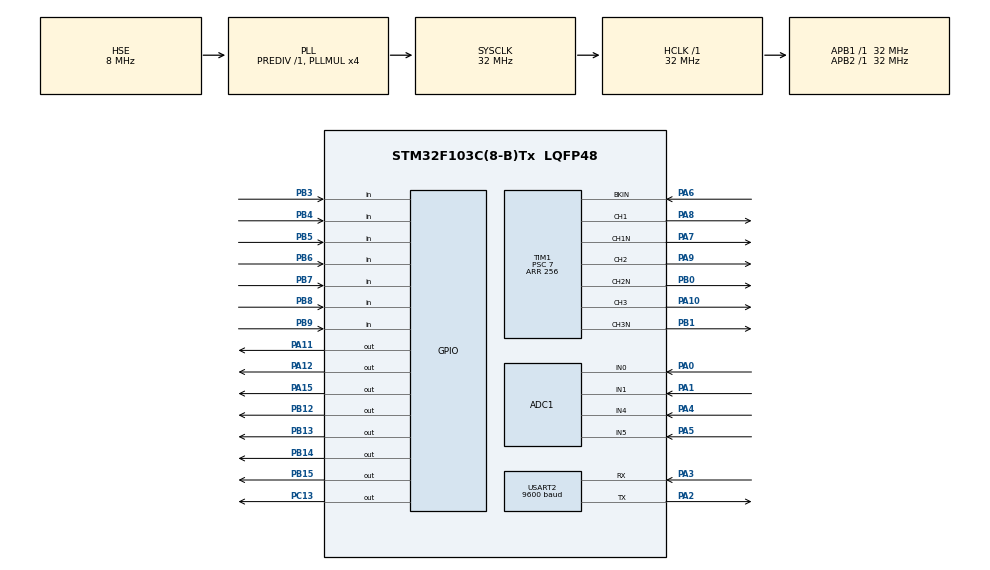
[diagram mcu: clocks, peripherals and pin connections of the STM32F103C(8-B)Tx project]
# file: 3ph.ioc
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ADC1.Channel-4\#ChannelRegularConversion=ADC_CHANNEL_0
ADC1.Channel-5\#ChannelRegularConversion=ADC_CHANNEL_1
ADC1.Channel-6\#ChannelRegularConversion=ADC_CHANNEL_4
ADC1.Channel-7\#ChannelRegularConversion=ADC_CHANNEL_5
ADC1.ContinuousConvMode=ENABLE
ADC1.DataAlign=ADC_DATAALIGN_RIGHT
ADC1.DiscontinuousConvMode=DISABLE
ADC1.EnableAnalogWatchDog=false
ADC1.EnableRegularConversion=ENABLE
ADC1.ExternalTrigConv=ADC_SOFTWARE_START
ADC1.InjNumberOfConversion=0
ADC1.NbrOfConversion=4
ADC1.NbrOfConversionFlag=1
ADC1.Rank-4\#ChannelRegularConversion=1
ADC1.Rank-5\#ChannelRegularConversion=2
ADC1.Rank-6\#ChannelRegularConversion=3
ADC1.Rank-7\#ChannelRegularConversion=4
ADC1.SamplingTime-4\#ChannelRegularConversion=ADC_SAMPLETIME_1CYCLE_5
ADC1.SamplingTime-5\#ChannelRegularConversion=ADC_SAMPLETIME_1CYCLE_5
ADC1.SamplingTime-6\#ChannelRegularConversion=ADC_SAMPLETIME_1CYCLE_5
ADC1.SamplingTime-7\#ChannelRegularConversion=ADC_SAMPLETIME_1CYCLE_5
ADC1.ScanConvMode=ADC_SCAN_ENABLE
ADC1.master=1
Dma.ADC1.0.Direction=DMA_PERIPH_TO_MEMORY
Dma.ADC1.0.Instance=DMA1_Channel1
Dma.ADC1.0.MemDataAlignment=DMA_MDATAALIGN_HALFWORD
Dma.ADC1.0.MemInc=DMA_MINC_ENABLE
Dma.ADC1.0.Mode=DMA_CIRCULAR
Dma.ADC1.0.PeriphDataAlignment=DMA_PDATAALIGN_HALFWORD
Dma.ADC1.0.PeriphInc=DMA_PINC_DISABLE
Dma.ADC1.0.Priority=DMA_PRIORITY_LOW
Dma.Request0=ADC1
Mcu.Family=STM32F1
Mcu.Name=STM32F103C(8-B)Tx
Mcu.Package=LQFP48
NVIC.DMA1_Channel1_IRQn=true\:0\:0\:false\:false\:true
NVIC.PriorityGroup=NVIC_PRIORITYGROUP_4
NVIC.TIM1_BRK_IRQn=true\:0\:0\:false\:false\:true
NVIC.TIM3_IRQn=true\:0\:0\:false\:false\:true
NVIC.TIM4_IRQn=true\:0\:0\:false\:false\:true
PA0-WKUP.Signal=ADCx_IN0
PA1.Signal=ADCx_IN1
PA10.Signal=S_TIM1_CH3
PA11.Signal=GPIO_Output
PA12.Signal=GPIO_Output
PA13.Mode=Serial_Wire
PA13.Signal=SYS_JTMS-SWDIO
PA14.Mode=Serial_Wire
PA14.Signal=SYS_JTCK-SWCLK
PA15.Signal=GPIO_Output
PA2.Mode=Asynchronous
PA2.Signal=USART2_TX
PA3.Mode=Asynchronous
PA3.Signal=USART2_RX
PA4.Signal=ADCx_IN4
PA5.Signal=ADCx_IN5
PA6.Mode=Activate-Break-Input
PA6.Signal=TIM1_BKIN
PA7.Mode=PWM Generation1 CH1 CH1N
PA7.Signal=TIM1_CH1N
PA8.Signal=S_TIM1_CH1
PA9.Signal=S_TIM1_CH2
PB0.Mode=PWM Generation2 CH2 CH2N
PB0.Signal=TIM1_CH2N
PB1.Mode=PWM Generation3 CH3 CH3N
PB1.Signal=TIM1_CH3N
PB12.Signal=GPIO_Output
PB13.Signal=GPIO_Output
PB14.Signal=GPIO_Output
PB15.Signal=GPIO_Output
PB3.Signal=GPIO_Input
PB4.Signal=GPIO_Input
PB5.Signal=GPIO_Input
PB6.Signal=GPIO_Input
PB7.Signal=GPIO_Input
PB8.Signal=GPIO_Input
PB9.Signal=GPIO_Input
PC13-TAMPER-RTC.Signal=GPIO_Output
PD0-OSC_IN.Mode=HSE-External-Oscillator
PD0-OSC_IN.Signal=RCC_OSC_IN
PD1-OSC_OUT.Mode=HSE-External-Oscillator
PD1-OSC_OUT.Signal=RCC_OSC_OUT
ProjectManager.HeapSize=0x200
ProjectManager.StackSize=0x400
ProjectManager.TargetToolchain=MDK-ARM V5
RCC.ADCPresc=RCC_ADCPCLK2_DIV4
RCC.AHBFreq_Value=32000000
RCC.APB1Freq_Value=32000000
RCC.APB1TimFreq_Value=32000000
RCC.APB2Freq_Value=32000000
RCC.APB2TimFreq_Value=32000000
RCC.HCLKFreq_Value=32000000
RCC.PLLMUL=RCC_PLL_MUL4
RCC.PLLSourceVirtual=RCC_PLLSOURCE_HSE
RCC.SYSCLKFreq_VALUE=32000000
RCC.SYSCLKSource=RCC_SYSCLKSOURCE_PLLCLK
RCC.USBFreq_Value=32000000
SH.ADCx_IN0.0=ADC1_IN0,IN0
SH.ADCx_IN0.1=ADC2_IN0
SH.ADCx_IN1.0=ADC1_IN1,IN1
SH.ADCx_IN1.1=ADC2_IN1
SH.ADCx_IN4.0=ADC1_IN4,IN4
SH.ADCx_IN5.0=ADC1_IN5,IN5
SH.S_TIM1_CH1.0=TIM1_CH1,PWM Generation1 CH1 CH1N
SH.S_TIM1_CH2.0=TIM1_CH2,PWM Generation2 CH2 CH2N
SH.S_TIM1_CH3.0=TIM1_CH3,PWM Generation3 CH3 CH3N
TIM1.BreakPolarity=TIM_BREAKPOLARITY_LOW
TIM1.Channel-PWM\ Generation1\ CH1\ CH1N=TIM_CHANNEL_1
TIM1.Channel-PWM\ Generation2\ CH2\ CH2N=TIM_CHANNEL_2
TIM1.Channel-PWM\ Generation3\ CH3\ CH3N=TIM_CHANNEL_3
TIM1.DeadTime=32
TIM1.OCFastMode_PWM-PWM\ Generation1\ CH1\ CH1N=TIM_OCFAST_ENABLE
TIM1.OCFastMode_PWM-PWM\ Generation2\ CH2\ CH2N=TIM_OCFAST_ENABLE
TIM1.OCFastMode_PWM-PWM\ Generation3\ CH3\ CH3N=TIM_OCFAST_ENABLE
TIM1.Period=256
TIM1.Prescaler=7
TIM3.Period=32000
TIM4.ClockDivision=TIM_CLOCKDIVISION_DIV1
TIM4.Period=53333 
TIM4.Prescaler=3
USART2.BaudRate=9600
USART2.VirtualMode=VM_ASYNC
VP_TIM1_VS_ClockSourceINT.Mode=Internal
VP_TIM3_VS_ClockSourceINT.Mode=Internal
VP_TIM4_VS_ClockSourceINT.Mode=Internal
board=3ph

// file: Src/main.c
/**
  ******************************************************************************
  * File Name          : main.c
  * Description        : Main program body
  ******************************************************************************
  ** This notice applies to any and all portions of this file
  * that are not between comment pairs USER CODE BEGIN and
  * USER CODE END. Other portions of this file, whether
  * inserted by the user or by software development tools
  * are owned by their respective copyright owners.
  *
  * COPYRIGHT(c) 2017 STMicroelectronics
  *
  * Redistribution and use in source and binary forms, with or without modification,
  * are permitted provided that the following conditions are met:
  *   1. Redistributions of source code must retain the above copyright notice,
  *      this list of conditions and the following disclaimer.
  *   2. Redistributions in binary form must reproduce the above copyright notice,
  *      this list of conditions and the following disclaimer in the documentation
  *      and/or other materials provided with the distribution.
  *   3. Neither the name of STMicroelectronics nor the names of its contributors
  *      may be used to endorse or promote products derived from this software
  *      without specific prior written permission.
  *
  * THIS SOFTWARE IS PROVIDED BY THE COPYRIGHT HOLDERS AND CONTRIBUTORS "AS IS"
  * AND ANY EXPRESS OR IMPLIED WARRANTIES, INCLUDING, BUT NOT LIMITED TO, THE
  * IMPLIED WARRANTIES OF MERCHANTABILITY AND FITNESS FOR A PARTICULAR PURPOSE ARE
  * DISCLAIMED. IN NO EVENT SHALL THE COPYRIGHT HOLDER OR CONTRIBUTORS BE LIABLE
  * FOR ANY DIRECT, INDIRECT, INCIDENTAL, SPECIAL, EXEMPLARY, OR CONSEQUENTIAL
  * DAMAGES (INCLUDING, BUT NOT LIMITED TO, PROCUREMENT OF SUBSTITUTE GOODS OR
  * SERVICES; LOSS OF USE, DATA, OR PROFITS; OR BUSINESS INTERRUPTION) HOWEVER
  * CAUSED AND ON ANY THEORY OF LIABILITY, WHETHER IN CONTRACT, STRICT LIABILITY,
  * OR TORT (INCLUDING NEGLIGENCE OR OTHERWISE) ARISING IN ANY WAY OUT OF THE USE
  * OF THIS SOFTWARE, EVEN IF ADVISED OF THE POSSIBILITY OF SUCH DAMAGE.
  *
  ******************************************************************************
  */
#include "main.h"
#include "stm32f1xx_hal.h"

ADC_HandleTypeDef hadc1;
DMA_HandleTypeDef hdma_adc1;

TIM_HandleTypeDef htim1;
TIM_HandleTypeDef htim3;
TIM_HandleTypeDef htim4;

UART_HandleTypeDef huart2;

/* USER CODE BEGIN PV */
/* Private variables ---------------------------------------------------------*/

/* USER CODE END PV */

void SystemClock_Config(void);
static void MX_GPIO_Init(void);
static void MX_DMA_Init(void);
static void MX_ADC1_Init(void);
static void MX_USART2_UART_Init(void);
static void MX_TIM1_Init(void);
static void MX_TIM4_Init(void);
static void MX_TIM3_Init(void);

void HAL_TIM_MspPostInit(TIM_HandleTypeDef *htim);

/* USER CODE BEGIN PFP */
/* Private function prototypes -----------------------------------------------*/

/* USER CODE END PFP */

/* USER CODE BEGIN 0 */
short int adc_value[4];
void run_pwm(void)
{
	HAL_TIM_PWM_Start_IT(&htim1,TIM_CHANNEL_1);
	HAL_TIM_PWM_Start_IT(&htim1,TIM_CHANNEL_2);
	HAL_TIM_PWM_Start_IT(&htim1,TIM_CHANNEL_3);

	HAL_TIMEx_PWMN_Start_IT(&htim1,TIM_CHANNEL_1);
	HAL_TIMEx_PWMN_Start_IT(&htim1,TIM_CHANNEL_2);
	HAL_TIMEx_PWMN_Start_IT(&htim1,TIM_CHANNEL_3);
}
void stop_pwm(void)
{
	HAL_TIM_PWM_Stop(&htim1,TIM_CHANNEL_1);
	HAL_TIM_PWM_Stop(&htim1,TIM_CHANNEL_2);
	HAL_TIM_PWM_Stop(&htim1,TIM_CHANNEL_3);

	HAL_TIMEx_PWMN_Stop(&htim1,TIM_CHANNEL_1);
	HAL_TIMEx_PWMN_Stop(&htim1,TIM_CHANNEL_2);
	HAL_TIMEx_PWMN_Stop(&htim1,TIM_CHANNEL_3);
}
/* USER CODE END 0 */

int main(void)
{

  /* MCU Configuration----------------------------------------------------------*/

  /* Reset of all peripherals, Initializes the Flash interface and the Systick. */
  HAL_Init();

  /* Configure the system clock */
  SystemClock_Config();

  /* Initialize all configured peripherals */
  MX_GPIO_Init();
  MX_DMA_Init();
  MX_ADC1_Init();
  MX_USART2_UART_Init();
  MX_TIM1_Init();
  MX_TIM4_Init();
  MX_TIM3_Init();

  /* USER CODE BEGIN 2 */

	HAL_TIM_Base_Start_IT(&htim4);
	HAL_TIM_Base_Start_IT(&htim3);
	HAL_ADC_Start_DMA(&hadc1,(uint32_t*)&adc_value,4);
  /* USER CODE END 2 */

  /* Infinite loop */
  while (1)
  {

	  }

}

/** System Clock Configuration
*/
void SystemClock_Config(void)
{

  RCC_OscInitTypeDef RCC_OscInitStruct;
  RCC_ClkInitTypeDef RCC_ClkInitStruct;
  RCC_PeriphCLKInitTypeDef PeriphClkInit;

    /**Initializes the CPU, AHB and APB busses clocks
    */
  RCC_OscInitStruct.OscillatorType = RCC_OSCILLATORTYPE_HSE;
  RCC_OscInitStruct.HSEState = RCC_HSE_ON;
  RCC_OscInitStruct.HSEPredivValue = RCC_HSE_PREDIV_DIV1;
  RCC_OscInitStruct.HSIState = RCC_HSI_ON;
  RCC_OscInitStruct.PLL.PLLState = RCC_PLL_ON;
  RCC_OscInitStruct.PLL.PLLSource = RCC_PLLSOURCE_HSE;
  RCC_OscInitStruct.PLL.PLLMUL = RCC_PLL_MUL4;
  if (HAL_RCC_OscConfig(&RCC_OscInitStruct) != HAL_OK)
  {
    _Error_Handler(__FILE__, __LINE__);
  }

    /**Initializes the CPU, AHB and APB busses clocks
    */
  RCC_ClkInitStruct.ClockType = RCC_CLOCKTYPE_HCLK|RCC_CLOCKTYPE_SYSCLK
                              |RCC_CLOCKTYPE_PCLK1|RCC_CLOCKTYPE_PCLK2;
  RCC_ClkInitStruct.SYSCLKSource = RCC_SYSCLKSOURCE_PLLCLK;
  RCC_ClkInitStruct.AHBCLKDivider = RCC_SYSCLK_DIV1;
  RCC_ClkInitStruct.APB1CLKDivider = RCC_HCLK_DIV1;
  RCC_ClkInitStruct.APB2CLKDivider = RCC_HCLK_DIV1;

  if (HAL_RCC_ClockConfig(&RCC_ClkInitStruct, FLASH_LATENCY_1) != HAL_OK)
  {
    _Error_Handler(__FILE__, __LINE__);
  }

  PeriphClkInit.PeriphClockSelection = RCC_PERIPHCLK_ADC;
  PeriphClkInit.AdcClockSelection = RCC_ADCPCLK2_DIV4;
  if (HAL_RCCEx_PeriphCLKConfig(&PeriphClkInit) != HAL_OK)
  {
    _Error_Handler(__FILE__, __LINE__);
  }

    /**Configure the Systick interrupt time
    */
  HAL_SYSTICK_Config(HAL_RCC_GetHCLKFreq()/1000);

    /**Configure the Systick
    */
  HAL_SYSTICK_CLKSourceConfig(SYSTICK_CLKSOURCE_HCLK);

  /* SysTick_IRQn interrupt configuration */
  HAL_NVIC_SetPriority(SysTick_IRQn, 0, 0);
}

/* ADC1 init function */
static void MX_ADC1_Init(void)
{

  ADC_ChannelConfTypeDef sConfig;

    /**Common config
    */
  hadc1.Instance = ADC1;
  hadc1.Init.ScanConvMode = ADC_SCAN_ENABLE;
  hadc1.Init.ContinuousConvMode = ENABLE;
  hadc1.Init.DiscontinuousConvMode = DISABLE;
  hadc1.Init.ExternalTrigConv = ADC_SOFTWARE_START;
  hadc1.Init.DataAlign = ADC_DATAALIGN_RIGHT;
  hadc1.Init.NbrOfConversion = 4;
  if (HAL_ADC_Init(&hadc1) != HAL_OK)
  {
    _Error_Handler(__FILE__, __LINE__);
  }

    /**Configure Regular Channel
    */
  sConfig.Channel = ADC_CHANNEL_0;
  sConfig.Rank = 1;
  sConfig.SamplingTime = ADC_SAMPLETIME_1CYCLE_5;
  if (HAL_ADC_ConfigChannel(&hadc1, &sConfig) != HAL_OK)
  {
    _Error_Handler(__FILE__, __LINE__);
  }

    /**Configure Regular Channel
    */
  sConfig.Channel = ADC_CHANNEL_1;
  sConfig.Rank = 2;
  if (HAL_ADC_ConfigChannel(&hadc1, &sConfig) != HAL_OK)
  {
    _Error_Handler(__FILE__, __LINE__);
  }

    /**Configure Regular Channel
    */
  sConfig.Channel = ADC_CHANNEL_4;
  sConfig.Rank = 3;
  if (HAL_ADC_ConfigChannel(&hadc1, &sConfig) != HAL_OK)
  {
    _Error_Handler(__FILE__, __LINE__);
  }

    /**Configure Regular Channel
    */
  sConfig.Channel = ADC_CHANNEL_5;
  sConfig.Rank = 4;
  if (HAL_ADC_ConfigChannel(&hadc1, &sConfig) != HAL_OK)
  {
    _Error_Handler(__FILE__, __LINE__);
  }

}

/* TIM1 init function */
static void MX_TIM1_Init(void)
{

  TIM_ClockConfigTypeDef sClockSourceConfig;
  TIM_MasterConfigTypeDef sMasterConfig;
  TIM_OC_InitTypeDef sConfigOC;
  TIM_BreakDeadTimeConfigTypeDef sBreakDeadTimeConfig;

  htim1.Instance = TIM1;
  htim1.Init.Prescaler = 7;
  htim1.Init.CounterMode = TIM_COUNTERMODE_UP;
  htim1.Init.Period = 256;
  htim1.Init.ClockDivision = TIM_CLOCKDIVISION_DIV1;
  htim1.Init.RepetitionCounter = 0;
  if (HAL_TIM_Base_Init(&htim1) != HAL_OK)
  {
    _Error_Handler(__FILE__, __LINE__);
  }

  sClockSourceConfig.ClockSource = TIM_CLOCKSOURCE_INTERNAL;
  if (HAL_TIM_ConfigClockSource(&htim1, &sClockSourceConfig) != HAL_OK)
  {
    _Error_Handler(__FILE__, __LINE__);
  }

  if (HAL_TIM_PWM_Init(&htim1) != HAL_OK)
  {
    _Error_Handler(__FILE__, __LINE__);
  }

  sMasterConfig.MasterOutputTrigger = TIM_TRGO_RESET;
  sMasterConfig.MasterSlaveMode = TIM_MASTERSLAVEMODE_DISABLE;
  if (HAL_TIMEx_MasterConfigSynchronization(&htim1, &sMasterConfig) != HAL_OK)
  {
    _Error_Handler(__FILE__, __LINE__);
  }

  sConfigOC.OCMode = TIM_OCMODE_PWM1;
  sConfigOC.Pulse = 0;
  sConfigOC.OCPolarity = TIM_OCPOLARITY_HIGH;
  sConfigOC.OCNPolarity = TIM_OCNPOLARITY_HIGH;
  sConfigOC.OCFastMode = TIM_OCFAST_ENABLE;
  sConfigOC.OCIdleState = TIM_OCIDLESTATE_RESET;
  sConfigOC.OCNIdleState = TIM_OCNIDLESTATE_RESET;
  if (HAL_TIM_PWM_ConfigChannel(&htim1, &sConfigOC, TIM_CHANNEL_1) != HAL_OK)
  {
    _Error_Handler(__FILE__, __LINE__);
  }

  if (HAL_TIM_PWM_ConfigChannel(&htim1, &sConfigOC, TIM_CHANNEL_2) != HAL_OK)
  {
    _Error_Handler(__FILE__, __LINE__);
  }

  if (HAL_TIM_PWM_ConfigChannel(&htim1, &sConfigOC, TIM_CHANNEL_3) != HAL_OK)
  {
    _Error_Handler(__FILE__, __LINE__);
  }

  sBreakDeadTimeConfig.OffStateRunMode = TIM_OSSR_DISABLE;
  sBreakDeadTimeConfig.OffStateIDLEMode = TIM_OSSI_DISABLE;
  sBreakDeadTimeConfig.LockLevel = TIM_LOCKLEVEL_OFF;
  sBreakDeadTimeConfig.DeadTime = 32;
  sBreakDeadTimeConfig.BreakState = TIM_BREAK_ENABLE;
  sBreakDeadTimeConfig.BreakPolarity = TIM_BREAKPOLARITY_LOW;
  sBreakDeadTimeConfig.AutomaticOutput = TIM_AUTOMATICOUTPUT_DISABLE;
  if (HAL_TIMEx_ConfigBreakDeadTime(&htim1, &sBreakDeadTimeConfig) != HAL_OK)
  {
    _Error_Handler(__FILE__, __LINE__);
  }

  HAL_TIM_MspPostInit(&htim1);

}

/* TIM3 init function */
static void MX_TIM3_Init(void)
{

  TIM_ClockConfigTypeDef sClockSourceConfig;
  TIM_MasterConfigTypeDef sMasterConfig;

  htim3.Instance = TIM3;
  htim3.Init.Prescaler = 0;
  htim3.Init.CounterMode = TIM_COUNTERMODE_UP;
  htim3.Init.Period = 32000;
  htim3.Init.ClockDivision = TIM_CLOCKDIVISION_DIV1;
  if (HAL_TIM_Base_Init(&htim3) != HAL_OK)
  {
    _Error_Handler(__FILE__, __LINE__);
  }

  sClockSourceConfig.ClockSource = TIM_CLOCKSOURCE_INTERNAL;
  if (HAL_TIM_ConfigClockSource(&htim3, &sClockSourceConfig) != HAL_OK)
  {
    _Error_Handler(__FILE__, __LINE__);
  }

  sMasterConfig.MasterOutputTrigger = TIM_TRGO_RESET;
  sMasterConfig.MasterSlaveMode = TIM_MASTERSLAVEMODE_DISABLE;
  if (HAL_TIMEx_MasterConfigSynchronization(&htim3, &sMasterConfig) != HAL_OK)
  {
    _Error_Handler(__FILE__, __LINE__);
  }

}

/* TIM4 init function */
static void MX_TIM4_Init(void)
{

  TIM_ClockConfigTypeDef sClockSourceConfig;
  TIM_MasterConfigTypeDef sMasterConfig;

  htim4.Instance = TIM4;
  htim4.Init.Prescaler = 3;
  htim4.Init.CounterMode = TIM_COUNTERMODE_UP;
  htim4.Init.Period = 53333 ;
  htim4.Init.ClockDivision = TIM_CLOCKDIVISION_DIV1;
  if (HAL_TIM_Base_Init(&htim4) != HAL_OK)
  {
    _Error_Handler(__FILE__, __LINE__);
  }

  sClockSourceConfig.ClockSource = TIM_CLOCKSOURCE_INTERNAL;
  if (HAL_TIM_ConfigClockSource(&htim4, &sClockSourceConfig) != HAL_OK)
  {
    _Error_Handler(__FILE__, __LINE__);
  }

  sMasterConfig.MasterOutputTrigger = TIM_TRGO_RESET;
  sMasterConfig.MasterSlaveMode = TIM_MASTERSLAVEMODE_DISABLE;
  if (HAL_TIMEx_MasterConfigSynchronization(&htim4, &sMasterConfig) != HAL_OK)
  {
    _Error_Handler(__FILE__, __LINE__);
  }

}

/* USART2 init function */
static void MX_USART2_UART_Init(void)
{

  huart2.Instance = USART2;
  huart2.Init.BaudRate = 9600;
  huart2.Init.WordLength = UART_WORDLENGTH_8B;
  huart2.Init.StopBits = UART_STOPBITS_1;
  huart2.Init.Parity = UART_PARITY_NONE;
  huart2.Init.Mode = UART_MODE_TX_RX;
  huart2.Init.HwFlowCtl = UART_HWCONTROL_NONE;
  huart2.Init.OverSampling = UART_OVERSAMPLING_16;
  if (HAL_UART_Init(&huart2) != HAL_OK)
  {
    _Error_Handler(__FILE__, __LINE__);
  }

}

static void MX_DMA_Init(void)
{
  /* DMA controller clock enable */
  __HAL_RCC_DMA1_CLK_ENABLE();

  /* DMA interrupt init */
  /* DMA1_Channel1_IRQn interrupt configuration */
  HAL_NVIC_SetPriority(DMA1_Channel1_IRQn, 0, 0);
  HAL_NVIC_EnableIRQ(DMA1_Channel1_IRQn);

}

/** Configure pins as
        * Analog
        * Input
        * Output
        * EVENT_OUT
        * EXTI
     PA0-WKUP   ------> ADCx_IN0
     PA1   ------> ADCx_IN1
*/
static void MX_GPIO_Init(void)
{

  GPIO_InitTypeDef GPIO_InitStruct;

  /* GPIO Ports Clock Enable */
  __HAL_RCC_GPIOC_CLK_ENABLE();
  __HAL_RCC_GPIOD_CLK_ENABLE();
  __HAL_RCC_GPIOA_CLK_ENABLE();
  __HAL_RCC_GPIOB_CLK_ENABLE();

  /*Configure GPIO pin Output Level */
  HAL_GPIO_WritePin(GPIOC, GPIO_PIN_13, GPIO_PIN_RESET);

  /*Configure GPIO pin Output Level */
  HAL_GPIO_WritePin(GPIOB, GPIO_PIN_12|GPIO_PIN_13|GPIO_PIN_14|GPIO_PIN_15, GPIO_PIN_RESET);

  /*Configure GPIO pin Output Level */
  HAL_GPIO_WritePin(GPIOA, GPIO_PIN_11|GPIO_PIN_12|GPIO_PIN_15, GPIO_PIN_RESET);

  /*Configure GPIO pin : PC13 */
  GPIO_InitStruct.Pin = GPIO_PIN_13;
  GPIO_InitStruct.Mode = GPIO_MODE_OUTPUT_PP;
  GPIO_InitStruct.Speed = GPIO_SPEED_FREQ_LOW;
  HAL_GPIO_Init(GPIOC, &GPIO_InitStruct);

  /*Configure GPIO pins : PA0 PA1 */
  GPIO_InitStruct.Pin = GPIO_PIN_0|GPIO_PIN_1;
  GPIO_InitStruct.Mode = GPIO_MODE_ANALOG;
  HAL_GPIO_Init(GPIOA, &GPIO_InitStruct);

  /*Configure GPIO pins : PB12 PB13 PB14 PB15 */
  GPIO_InitStruct.Pin = GPIO_PIN_12|GPIO_PIN_13|GPIO_PIN_14|GPIO_PIN_15;
  GPIO_InitStruct.Mode = GPIO_MODE_OUTPUT_PP;
  GPIO_InitStruct.Speed = GPIO_SPEED_FREQ_LOW;
  HAL_GPIO_Init(GPIOB, &GPIO_InitStruct);

  /*Configure GPIO pins : PA11 PA12 PA15 */
  GPIO_InitStruct.Pin = GPIO_PIN_11|GPIO_PIN_12|GPIO_PIN_15;
  GPIO_InitStruct.Mode = GPIO_MODE_OUTPUT_PP;
  GPIO_InitStruct.Speed = GPIO_SPEED_FREQ_LOW;
  HAL_GPIO_Init(GPIOA, &GPIO_InitStruct);

  /*Configure GPIO pins : PB3 PB4 PB5 PB6
                           PB7 PB8 PB9 */
  GPIO_InitStruct.Pin = GPIO_PIN_3|GPIO_PIN_4|GPIO_PIN_5|GPIO_PIN_6
                          |GPIO_PIN_7|GPIO_PIN_8|GPIO_PIN_9;
  GPIO_InitStruct.Mode = GPIO_MODE_INPUT;
  GPIO_InitStruct.Pull = GPIO_NOPULL;
  HAL_GPIO_Init(GPIOB, &GPIO_InitStruct);

}

void _Error_Handler(char * file, int line)
{
  while(1)
  {
  }
}

/************************ (C) COPYRIGHT STMicroelectronics *****END OF FILE****/
